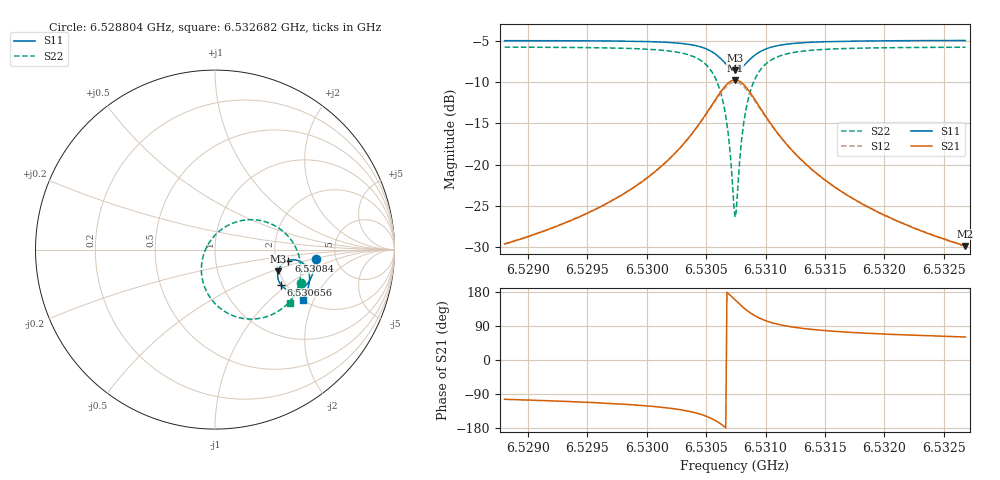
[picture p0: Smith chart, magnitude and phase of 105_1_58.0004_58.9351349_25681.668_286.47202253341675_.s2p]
#  HZ  S  RI  R  50.00
! Rohde & Schwarz Vector Network Analyzer
! Rohde-Schwarz,ZNB20-2Port,1311601062101988,3.16
! Created: UTC 3/21/2024, 12:54:58 AM
! freq[Hz]  re:S11  im:S11  re:S21  im:S21  re:S12  im:S12  re:S22  im:S22
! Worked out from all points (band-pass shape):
!   401 points, 6.528804 GHz to 6.532682 GHz, reference 50 ohm
!   highest |S21| = -9.74 dB at 6.530743 GHz (marker M1); lowest = -29.9 dB at 6.532682 GHz (marker M2)
!   |S21| within 3 dB of the highest: 6.53055 GHz to 6.530938 GHz (387.8 kHz wide, 0.00594 % of centre)
!   lowest |S11| = -8.6 dB at 6.530743 GHz (marker M3), VSWR 2.18, Z = 99.1 - j27.7 ohm
!   |S11| at or under -10 dB: nowhere
!   |S22| runs from -26.4 to -5.8 dB; largest |S21 - S12| = 0.013
!   S11 on the Smith chart (normalised r, x): 6.528804 GHz: 3.48, -0.56; 6.530656 GHz: 1.88, -0.89; 6.53084 GHz: 2.35, -0.34; 6.532682 GHz: 2.00, -1.66
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6.5288036e9  0.5606 -0.0548  -0.00785 -0.0321  -0.00849 -0.032  0.4807 -0.1841
6.5294533e9  0.5512 -0.1103  -0.0176 -0.0457  -0.0188 -0.0454  0.4484 -0.2463
6.5298024e9  0.5411 -0.1438  -0.0297 -0.0593  -0.0312 -0.0585  0.4163 -0.2889
6.530103e9  0.5239 -0.178  -0.0529 -0.0789  -0.0554 -0.0773  0.3631 -0.3361
6.530326e9  0.4966 -0.2084  -0.0949 -0.0998  -0.0979 -0.0964  0.2782 -0.3766
6.5304909e9  0.4511 -0.2286  -0.1669 -0.1074  -0.1695 -0.1002  0.1453 -0.3814
6.5305878e9  0.4038 -0.2234  -0.2408 -0.0801  -0.2401 -0.0695  0.0217 -0.3212
6.5306557e9  0.3663 -0.1946  -0.2957 -0.0188  -0.2894 -0.00761  -0.0585 -0.207
6.5306848e9  0.3545 -0.1733  -0.3105 0.0221  -0.3016 0.0317  -0.0747 -0.1367
6.5307236e9  0.349 -0.1385  -0.3123 0.0853  -0.3007 0.0913  -0.065 -0.0325
6.530743e9  0.3518 -0.1204  -0.304 0.117  -0.2917 0.1211  -0.0446 0.0178
6.5307527e9  0.3549 -0.1116  -0.2971 0.1322  -0.2849 0.1351  -0.031 0.0415
6.5307624e9  0.3585 -0.1033  -0.2891 0.1468  -0.2771 0.1486  -0.0149 0.0634
6.5308012e9  0.3808 -0.0759  -0.2457 0.1933  -0.2355 0.1914  0.0648 0.1311
6.53084e9  0.4092 -0.0608  -0.194 0.2183  -0.1866 0.2147  0.1543 0.1629
6.5309078e9  0.455 -0.0589  -0.1143 0.2214  -0.1104 0.2179  0.2886 0.1525
6.5310048e9  0.4957 -0.0807  -0.045 0.1892  -0.0433 0.1872  0.4005 0.082
6.5311503e9  0.5199 -0.1174  -0.00306 0.1404  -0.00173 0.1395  0.4622 -0.0178
6.5313927e9  0.5273 -0.1614  0.0151 0.092  0.0163 0.0916  0.4786 -0.1193
6.5316836e9  0.5226 -0.1978  0.0184 0.063  0.0195 0.0627  0.4694 -0.1867
6.5320424e9  0.5122 -0.2322  0.018 0.0444  0.0188 0.0441  0.4517 -0.2383
6.5326824e9  0.4892 -0.2824  0.0157 0.028  0.0163 0.0276  0.4185 -0.2986
